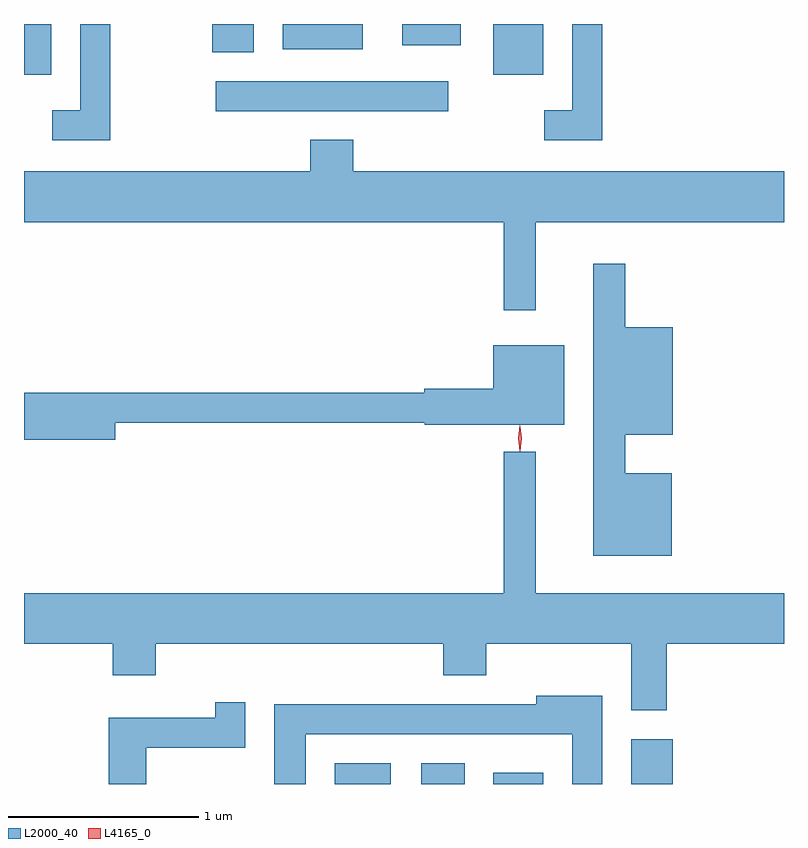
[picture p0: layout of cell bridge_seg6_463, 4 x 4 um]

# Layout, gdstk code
import gdstk
lib = gdstk.Library(unit=1e-6, precision=1e-09)
def R(c, l, rs):  # rectangles x0, y0, x1, y1
    for r in rs: c.add(gdstk.rectangle(r[:2], r[2:], *l))
def P(c, l, *ps):  # polygons
    for p in ps: c.add(gdstk.Polygon(p, *l))
L2000_40 = (2000, 40)
L4165_0 = (4165, 0)

bridge_seg6_463 = lib.new_cell('bridge_seg6_463')
R(bridge_seg6_463, L2000_40, [(684.731,1589.259,685.024,1589.369), (685.186,1589.259,685.414,1589.369), (685.566,1589.259,685.829,1589.319), (686.291,1589.259,686.509,1589.494), (684.103,1592.801,685.328,1592.959), (683.095,1592.991,683.239,1593.259), (685.566,1592.991,685.829,1593.259), (684.086,1593.111,684.304,1593.259), (684.456,1593.126,684.879,1593.259), (685.086,1593.146,685.394,1593.259)])
P(bridge_seg6_463, L2000_40, [(683.549,1593.259),(683.391,1593.259),(683.391,1592.804),(683.243,1592.804),(683.243,1592.646),(683.549,1592.646)],
  [(686.139,1593.259),(685.981,1593.259),(685.981,1592.804),(685.833,1592.804),(685.833,1592.646),(686.139,1592.646)],
  [(685.789,1592.216),(687.095,1592.216),(687.095,1592.484),(684.829,1592.484),(684.829,1592.649),(684.601,1592.649),(684.601,1592.484),(683.095,1592.484),(683.095,1592.216),(685.621,1592.216),(685.621,1591.753),(685.789,1591.753)],
  [(686.504,1590.894),(686.259,1590.894),(686.259,1591.096),(686.509,1591.096),(686.509,1591.664),(686.259,1591.664),(686.259,1591.998),(686.091,1591.998),(686.091,1590.461),(686.504,1590.461)],
  [(683.574,1591.161),(685.205,1591.161),(685.205,1591.151),(685.939,1591.151),(685.939,1591.569),(685.566,1591.569),(685.566,1591.339),(685.201,1591.339),(685.201,1591.319),(683.095,1591.319),(683.095,1591.071),(683.574,1591.071)],
  [(686.479,1589.996),(687.095,1589.996),(687.095,1590.264),(685.789,1590.264),(685.789,1591.008),(685.621,1591.008),(685.621,1590.264),(683.095,1590.264),(683.095,1589.996),(683.561,1589.996),(683.561,1589.831),(683.789,1589.831),(683.789,1589.996),(685.301,1589.996),(685.301,1589.831),(685.529,1589.831),(685.529,1589.996),(686.291,1589.996),(686.291,1589.646),(686.479,1589.646)],
  [(684.579,1589.521),(685.981,1589.521),(685.981,1589.259),(686.139,1589.259),(686.139,1589.724),(685.791,1589.724),(685.791,1589.679),(684.411,1589.679),(684.411,1589.259),(684.579,1589.259)],
  [(683.739,1589.451),(684.259,1589.451),(684.259,1589.688),(684.101,1589.688),(684.101,1589.609),(683.541,1589.609),(683.541,1589.259),(683.739,1589.259)])
P(bridge_seg6_463, L4165_0, [(685.704,1591.01),(685.695,1591.078),(685.704,1591.146),(685.704,1591.146),(685.705,1591.146),(685.715,1591.078),(685.706,1591.01),(685.705,1591.01)],
  [(685.704,1591.013),(685.696,1591.077),(685.706,1591.141),(685.706,1591.141),(685.707,1591.141),(685.716,1591.077),(685.706,1591.013),(685.705,1591.013)])

lib.write_gds('bridge_seg6_463.gds')
